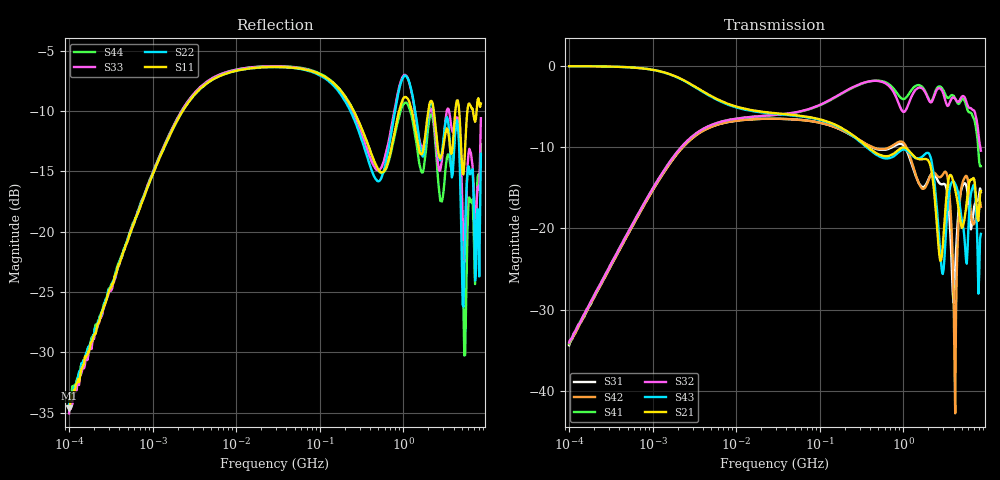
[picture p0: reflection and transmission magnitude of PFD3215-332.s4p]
# MHz S MA R 50
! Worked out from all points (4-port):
!   498 points, 100 kHz to 8.5 GHz, reference 50 ohm
!   strongest paths, dB at 100 kHz, 1.698 MHz, 29.49 MHz, 500.7 MHz, 8.5 GHz:
!     S21: -0.1, -1.1, -5.8, -10.9, -15.4
!     S43: -0.1, -1.2, -5.9, -11.1, -20.7
!     S32: -34.0, -11.5, -6.1, -1.9, -10.5
!     S41: -34.1, -11.5, -6.1, -1.8, -12.4
!     S42: -34.2, -11.7, -6.5, -10.2, -17.3
!     S31: -34.4, -11.7, -6.5, -10.3, -15.5
!   lowest |S11| = -34.6 dB at 100 kHz (marker M1), VSWR 1.04, Z = 50.2 + j1.85 ohm
!   |S11| at or under -10 dB: 1.268 GHz to 1.998 GHz (730.4 MHz wide, 44.7 % of centre); 2.318 GHz to 4.202 GHz (1.884 GHz wide, 57.8 % of centre); 4.674 GHz to 5.861 GHz (1.186 GHz wide, 22.5 % of centre)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
0.1  0.01856 83.3  0.991 -1.2  0.01915 -93.6  0.01961 85.8
     0.991 -1.2  0.01919 83.1  0.01991 85.5  0.01947 -93.9
     0.01915 -93.6  0.01991 85.5  0.01766 75.6  0.9908 -1.1
     0.01961 85.8  0.01947 -93.9  0.9908 -1.1  0.02019 80.5
5.567103  0.432 23.4  0.6322 -19.3  0.429 -157.6  0.4393 25.2
          0.6322 -19.3  0.4324 23.3  0.4398 25.3  0.4286 -157.5
          0.429 -157.6  0.4398 25.3  0.4382 23.2  0.626 -19.5
          0.4393 25.2  0.4286 -157.5  0.626 -19.5  0.438 23.1
302.9285  0.2787 -74.1  0.346 -104.6  0.3467 74.4  0.7663 -28.9
          0.346 -104.6  0.2525 -72.7  0.7699 -30.7  0.348 72.6
          0.3467 74.4  0.7699 -30.7  0.263 -70.2  0.3411 -104.8
          0.7663 -28.9  0.348 72.6  0.3411 -104.8  0.2779 -76.4
1431.488  0.2538 135.6  0.27 -75.2  0.206 112.9  0.7536 176.3
          0.27 -75.2  0.2963 133.8  0.7153 179.3  0.2088 117.3
          0.206 112.9  0.7153 179.3  0.2923 130.1  0.2693 -82.0
          0.7536 176.3  0.2088 117.3  0.2693 -82.0  0.2353 124.6
2713.323  0.2035 -0.9  0.06762 -88.0  0.1897 93.5  0.7451 8.5
          0.06762 -88.0  0.2009 0.7  0.7278 6.0  0.206 90.4
          0.1897 93.5  0.7278 6.0  0.1787 3.0  0.08216 -56.0
          0.7451 8.5  0.206 90.4  0.08216 -56.0  0.1439 -19.2
4092.906  0.2841 -129.8  0.1823 -101.9  0.04323 21.9  0.6427 -175.9
          0.1823 -101.9  0.2309 -124.5  0.6335 -174.2  0.0172 132.5
          0.04323 21.9  0.6335 -174.2  0.268 -145.1  0.1916 -109.7
          0.6427 -175.9  0.0172 132.5  0.1916 -109.7  0.2343 -128.5
8500  0.3395 -49.1  0.1697 45.6  0.1672 21.8  0.2411 -23.9
      0.1697 45.6  0.2102 -3.4  0.3 -52.4  0.136 -7.9
      0.1672 21.8  0.3 -52.4  0.295 -16.0  0.09255 30.4
      0.2411 -23.9  0.136 -7.9  0.09255 30.4  0.2303 -25.9
